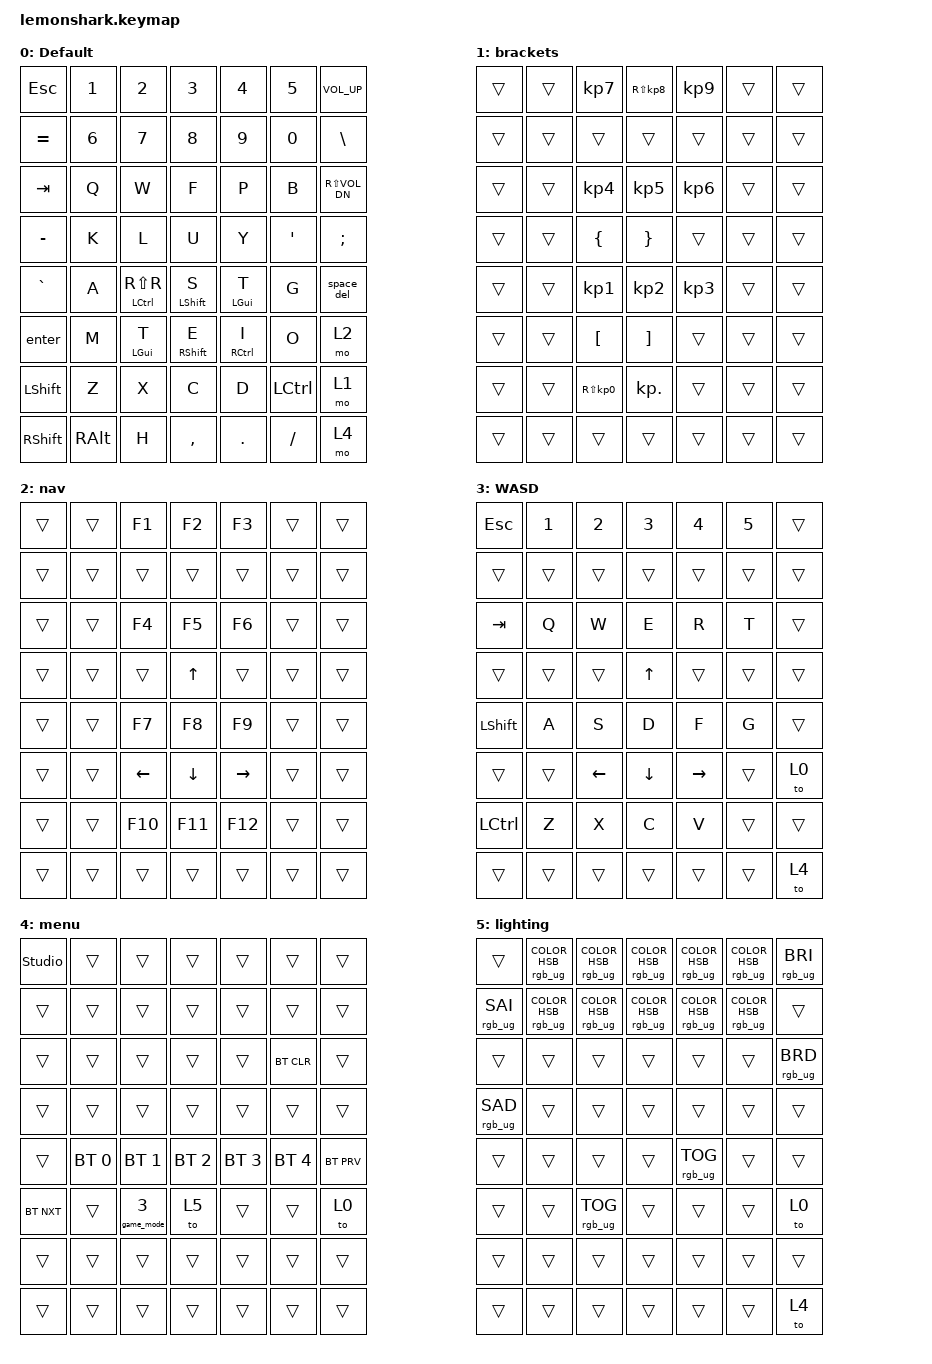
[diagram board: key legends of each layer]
#include <behaviors.dtsi>
#include <dt-bindings/zmk/bt.h>
#include <dt-bindings/zmk/keys.h>
#include <dt-bindings/zmk/rgb.h>

/ {
    combos {
        compatible = "zmk,combos";

        combo_v {
            bindings = <&kp V>;
            key-positions = <45 46>;
            layers = <0>;
        };

        combo_j {
            bindings = <&kp J>;
            key-positions = <18 17>;
        };
    };

    behaviors {
        enter: enter {
            compatible = "zmk,behavior-mod-morph";
            label = "ENTER";
            bindings = <&kp BSPC>, <&kp RET>;

            #binding-cells = <0>;
            mods = <(MOD_RALT)>;
        };

        space_del: space_del {
            compatible = "zmk,behavior-mod-morph";
            label = "SPACE_DEL";
            bindings = <&kp SPACE>, <&kp DELETE>;

            #binding-cells = <0>;
            mods = <(MOD_LSFT)>;
        };

        game_mode: game_mode {
            compatible = "zmk,behavior-toggle-layer";
            label = "GAME_MODE";
            #binding-cells = <1>;
            toggle-mode = "flip";
        };

        hrm_index: hrm_index {
            compatible = "zmk,behavior-hold-tap";
            label = "HRM_INDEX";
            bindings = <&kp>, <&kp>;

            #binding-cells = <2>;
            hold-trigger-key-positions = <32>;
            tapping-term-ms = <50>;
        };
    };

    keymap {
        compatible = "zmk,keymap";

        colemak-dh {
            bindings = <
&kp ESC    &kp N1  &kp N2                  &kp N3               &kp N4             &kp N5     &kp K_VOL_UP
                                                                                                                &kp EQUAL  &kp N6    &kp N7             &kp N8              &kp N9              &kp N0    &kp BSLH
&kp TAB    &kp Q   &kp W                   &kp F                &kp P              &kp B      &kp RS(K_VOL_DN)
                                                                                                                &kp MINUS  &kp K     &kp L              &kp U               &kp Y               &kp SQT   &kp SEMI
&kp GRAVE  &kp A   &hrm_index LCTRL RS(R)  &hrm_index LSHIFT S  &hrm_index LGUI T  &kp G      &space_del
                                                                                                                &enter     &kp M     &hrm_index LGUI T  &hrm_index RSHFT E  &hrm_index RCTRL I  &kp O     &mo 2
&kp LSHFT  &kp Z   &kp X                   &kp C                &kp D              &kp LCTRL  &mo 1
                                                                                                                &kp RSHFT  &kp RALT  &kp H              &kp COMMA           &kp DOT             &kp FSLH  &mo 4
            >;

            label = "Default";
        };

        brackets {
            bindings = <
&trans  &trans  &kp KP_NUMBER_7      &kp RS(KP_NUMBER_8)  &kp KP_NUMBER_9  &trans  &trans
                                                                                           &trans  &trans  &trans            &trans    &trans  &trans  &trans
&trans  &trans  &kp KP_NUMBER_4      &kp KP_NUMBER_5      &kp KP_NUMBER_6  &trans  &trans
                                                                                           &trans  &trans  &kp LBRC          &kp RBRC  &trans  &trans  &trans
&trans  &trans  &kp KP_NUMBER_1      &kp KP_NUMBER_2      &kp KP_NUMBER_3  &trans  &trans
                                                                                           &trans  &trans  &kp LEFT_BRACKET  &kp RBKT  &trans  &trans  &trans
&trans  &trans  &kp RS(KP_NUMBER_0)  &kp KP_DOT           &trans           &trans  &trans
                                                                                           &trans  &trans  &trans            &trans    &trans  &trans  &trans
            >;
        };

        nav {
            bindings = <
&trans  &trans  &kp F1   &kp F2   &kp F3   &trans  &trans
                                                           &trans  &trans  &trans    &trans    &trans     &trans  &trans
&trans  &trans  &kp F4   &kp F5   &kp F6   &trans  &trans
                                                           &trans  &trans  &trans    &kp UP    &trans     &trans  &trans
&trans  &trans  &kp F7   &kp F8   &kp F9   &trans  &trans
                                                           &trans  &trans  &kp LEFT  &kp DOWN  &kp RIGHT  &trans  &trans
&trans  &trans  &kp F10  &kp F11  &kp F12  &trans  &trans
                                                           &trans  &trans  &trans    &trans    &trans     &trans  &trans
            >;

            label = "nav";
        };

        games {
            bindings = <
&kp ESC    &kp N1  &kp N2  &kp N3  &kp N4  &kp N5  &trans
                                                           &trans  &trans  &trans    &trans    &trans     &trans  &trans
&kp TAB    &kp Q   &kp W   &kp E   &kp R   &kp T   &trans
                                                           &trans  &trans  &trans    &kp UP    &trans     &trans  &trans
&kp LSHFT  &kp A   &kp S   &kp D   &kp F   &kp G   &trans
                                                           &trans  &trans  &kp LEFT  &kp DOWN  &kp RIGHT  &trans  &to 0
&kp LCTRL  &kp Z   &kp X   &kp C   &kp V   &trans  &trans
                                                           &trans  &trans  &trans    &trans    &trans     &trans  &to 4
            >;

            label = "WASD";
        };

        menu {
            bindings = <
&studio_unlock  &trans        &trans        &trans        &trans        &trans        &trans
                                                                                                  &trans      &trans  &trans        &trans  &trans  &trans  &trans
&trans          &trans        &trans        &trans        &trans        &bt BT_CLR    &trans
                                                                                                  &trans      &trans  &trans        &trans  &trans  &trans  &trans
&trans          &bt BT_SEL 0  &bt BT_SEL 1  &bt BT_SEL 2  &bt BT_SEL 3  &bt BT_SEL 4  &bt BT_PRV
                                                                                                  &bt BT_NXT  &trans  &game_mode 3  &to 5   &trans  &trans  &to 0
&trans          &trans        &trans        &trans        &trans        &trans        &trans
                                                                                                  &trans      &trans  &trans        &trans  &trans  &trans  &trans
            >;

            label = "menu";
        };

        lighting {
            bindings = <
&trans  &rgb_ug RGB_COLOR_HSB(0,0,100)  &rgb_ug RGB_COLOR_HSB(0,25,95)  &rgb_ug RGB_COLOR_HSB(0,33,97)  &rgb_ug RGB_COLOR_HSB(0,39,95)  &rgb_ug RGB_COLOR_HSB(0,28,92)  &rgb_ug RGB_BRI
                                                                                                                                                                                         &rgb_ug RGB_SAI  &rgb_ug RGB_COLOR_HSB(0,45,97)  &rgb_ug RGB_COLOR_HSB(0,41,96)  &rgb_ug RGB_COLOR_HSB(0,37,96)  &rgb_ug RGB_COLOR_HSB(0,18,93)  &rgb_ug RGB_COLOR_HSB(0,16,91)  &trans
&trans  &trans                          &trans                          &trans                          &trans                          &trans                          &rgb_ug RGB_BRD
                                                                                                                                                                                         &rgb_ug RGB_SAD  &trans                          &trans                          &trans                          &trans                          &trans                          &trans
&trans  &trans                          &trans                          &trans                          &rgb_ug RGB_TOG                 &trans                          &trans
                                                                                                                                                                                         &trans           &trans                          &rgb_ug RGB_TOG                 &trans                          &trans                          &trans                          &to 0
&trans  &trans                          &trans                          &trans                          &trans                          &trans                          &trans
                                                                                                                                                                                         &trans           &trans                          &trans                          &trans                          &trans                          &trans                          &to 4
            >;
        };
    };

    conditional_layers { compatible = "zmk,conditional-layers"; };
};
